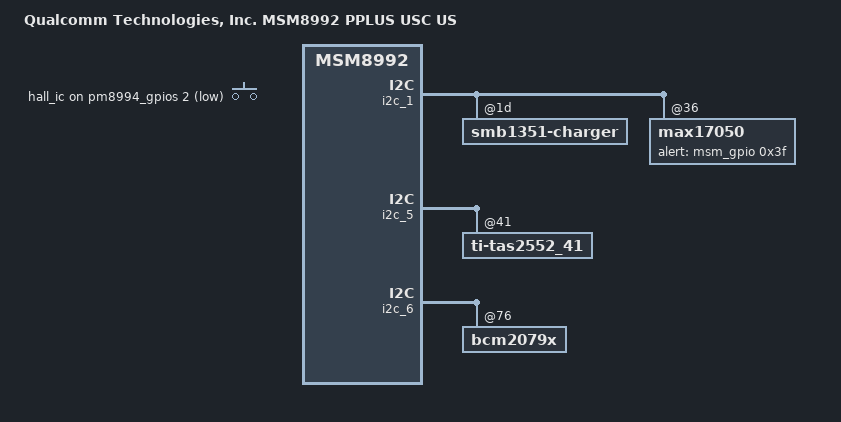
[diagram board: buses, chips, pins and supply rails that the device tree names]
/* Copyright (c) 2014, The Linux Foundation. All rights reserved.
 *
 * This program is free software; you can redistribute it and/or modify
 * it under the terms of the GNU General Public License version 2 and
 * only version 2 as published by the Free Software Foundation.
 *
 * This program is distributed in the hope that it will be useful,
 * but WITHOUT ANY WARRANTY; without even the implied warranty of
 * MERCHANTABILITY or FITNESS FOR A PARTICULAR PURPOSE.  See the
 * GNU General Public License for more details.
 */


/dts-v1/;

#include "../../qcom/msm8992.dtsi"
#include "msm8992-pplus_usc_us.dtsi"

/ {
	model = "Qualcomm Technologies, Inc. MSM8992 PPLUS USC US";
	compatible = "qcom,msm8992-cdp", "qcom,msm8992", "qcom,cdp";
	qcom,board-id = <0x465 0>;
};

//ADD HERE TO SUPPORT HW CHANGE

&soc {
	i2c_1: i2c@f9923000 { /* BLSP1 : BLSP1 QUP1 */
		status = "ok";

		smb1351-charger@1d {
			status = "ok";
		};

		max17050@36 {
			status = "ok";
			interrupts = <0x3f 0x0>;
			max17048,alert_gpio = <&msm_gpio 0x3f 0x0>;
		};
	};

	i2c_5: i2c@f9967000 {
		ti-tas2552_41@41 {
			status = "ok";
		};
	};

	i2c_6: i2c@f9928000 { /* BLSP6 : BLSP1 QUP6 */
		bcm2079x@76 {
			status = "ok";
		};

		smb1358-charger@1c {
			status = "disabled";
		};

		max17050@36 {
			status = "disabled";
		};
	};
};

&slim_msm {
        tomtom_codec {
                qcom,cdc-reset-gpio = <&msm_gpio 91 0>;
        };
};

&soc {
	gpio_keys {
		compatible = "gpio-keys";
		input-name = "gpio-keys";

		/delete-property/ pinctrl-names;
		/delete-property/ pinctrl-0;
		/delete-property/ pinctrl-1;

		hall_ic {
			label = "hall_ic";
			gpios = <&pm8994_gpios 2 0x1>;
			linux,input-type = <5>;
			linux,code = <222>;
			gpio-key,wakeup;
			debounce-interval = <15>;
		};
	};
};
